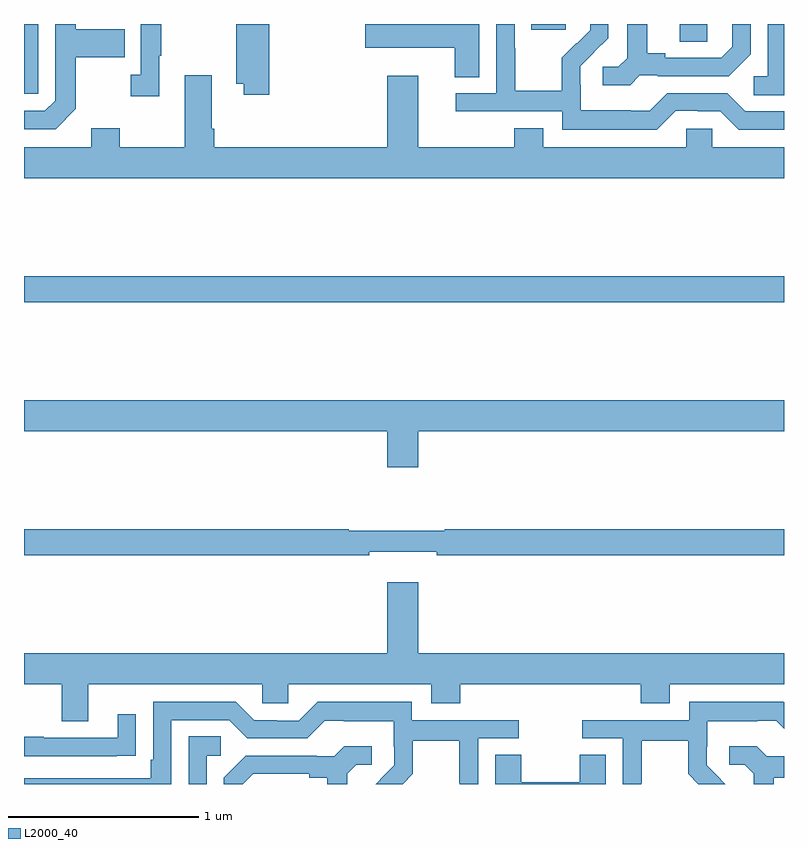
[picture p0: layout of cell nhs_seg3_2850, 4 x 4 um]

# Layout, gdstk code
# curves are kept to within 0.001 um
import gdstk
lib = gdstk.Library(unit=1e-6, precision=1e-09)
def R(c, l, rs):  # rectangles x0, y0, x1, y1
    for r in rs: c.add(gdstk.rectangle(r[:2], r[2:], *l))
def P(c, l, *ps):  # polygons
    for p in ps: c.add(gdstk.Polygon(p, *l))
L2000_40 = (2000, 40)

nhs_seg3_2850 = lib.new_cell('nhs_seg3_2850')
R(nhs_seg3_2850, L2000_40, [(259,694.936,263,695.072), (259,696.033,259.074,696.4), (262.451,696.307,262.596,696.4), (261.671,696.369,261.85,696.4)])
P(nhs_seg3_2850, L2000_40, [(262.431,695.943),(262.547,695.943),(262.547,695.94),(262.665,695.94),(262.761,695.844),(263,695.844),(263,695.94),(262.797,695.94),(262.701,696.036),(262.386,696.036),(262.293,695.943),(262.193,695.943),(262.193,695.947),(261.93,695.947),(261.93,696.081),(261.928,696.081),(261.928,696.178),(262.074,696.326),(262.074,696.4),(261.98,696.4),(261.98,696.368),(261.909,696.297),(261.906,696.3),(261.829,696.223),(261.829,696.049),(261.585,696.049),(261.585,696.272),(261.582,696.272),(261.582,696.4),(261.486,696.4),(261.486,696.036),(261.273,696.036),(261.273,695.94),(261.834,695.94),(261.834,695.843),(262.331,695.843)],
  [(262.242,696.129),(262.336,696.129),(262.336,696.126),(262.708,696.126),(262.824,696.242),(262.824,696.4),(262.727,696.4),(262.727,696.279),(262.67,696.222),(262.375,696.222),(262.375,696.245),(262.279,696.245),(262.279,696.4),(262.175,696.4),(262.175,696.221),(262.128,696.174),(262.047,696.174),(262.047,696.077),(262.19,696.077)],
  [(259.711,696.233),(259.723,696.233),(259.723,696.4),(259.614,696.4),(259.614,696.134),(259.563,696.134),(259.563,696.021),(259.711,696.021)],
  [(259.273,695.953),(259.273,696.226),(259.529,696.226),(259.529,696.373),(259.273,696.373),(259.273,696.4),(259.164,696.4),(259.164,695.997),(259.11,695.943),(259,695.943),(259,695.847),(259.167,695.847)],
  [(263,696.4),(262.914,696.4),(262.914,696.126),(262.842,696.126),(262.842,696.025),(263,696.025)],
  [(261.397,696.4),(260.796,696.4),(260.796,696.275),(261.266,696.275),(261.266,696.121),(261.397,696.121)],
  [(260.291,696.4),(260.116,696.4),(260.116,696.086),(260.156,696.086),(260.156,696.027),(260.291,696.027)],
  [(263,695.752),(262.623,695.752),(262.623,695.85),(262.485,695.85),(262.485,695.752),(261.733,695.752),(261.733,695.851),(261.581,695.851),(261.581,695.752),(261.076,695.752),(261.076,696.127),(260.912,696.127),(260.912,695.752),(260,695.752),(260,695.848),(259.987,695.848),(259.987,696.13),(259.847,696.13),(259.847,695.752),(259.503,695.752),(259.503,695.851),(259.355,695.851),(259.355,695.752),(259,695.752),(259,695.588),(263,695.588)],
  [(261.076,694.256),(263,694.256),(263,694.42),(259,694.42),(259,694.256),(260.912,694.256),(260.912,694.068),(261.076,694.068)],
  [(260.816,693.623),(261.172,693.623),(261.172,693.604),(263,693.604),(263,693.74),(261.214,693.74),(261.214,693.733),(260.708,693.733),(260.708,693.74),(259,693.74),(259,693.604),(260.816,693.604)],
  [(259.339,692.924),(260.253,692.924),(260.253,692.826),(260.391,692.826),(260.391,692.924),(261.143,692.924),(261.143,692.825),(261.296,692.825),(261.296,692.924),(262.247,692.924),(262.247,692.825),(262.399,692.825),(262.399,692.924),(263,692.924),(263,693.088),(261.076,693.088),(261.076,693.463),(260.912,693.463),(260.912,693.088),(259,693.088),(259,692.924),(259.199,692.924),(259.199,692.73),(259.339,692.73)],
  [(262.248,692.404),(262.251,692.404),(262.251,692.628),(262.495,692.628),(262.495,692.453),(262.548,692.4),(262.69,692.4),(262.667,692.423),(262.668,692.424),(262.594,692.498),(262.594,692.595),(262.596,692.595),(262.596,692.729),(262.859,692.729),(262.859,692.733),(262.959,692.733),(263,692.692),(263,692.83),(262.997,692.833),(262.5,692.833),(262.5,692.736),(261.939,692.736),(261.939,692.64),(262.152,692.64),(262.152,692.4),(262.248,692.4)],
  [(259.776,692.736),(260.079,692.736),(260.175,692.64),(260.49,692.64),(260.583,692.733),(260.683,692.733),(260.683,692.729),(260.946,692.729),(260.946,692.595),(260.948,692.595),(260.948,692.498),(260.874,692.424),(260.875,692.423),(260.852,692.4),(260.994,692.4),(261.047,692.453),(261.047,692.628),(261.291,692.628),(261.291,692.404),(261.294,692.404),(261.294,692.4),(261.39,692.4),(261.39,692.64),(261.604,692.64),(261.604,692.736),(261.042,692.736),(261.042,692.833),(260.545,692.833),(260.445,692.733),(260.33,692.733),(260.33,692.736),(260.211,692.736),(260.115,692.832),(259.68,692.832),(259.68,692.527),(259.667,692.527),(259.667,692.43),(259,692.43),(259,692.4),(259.776,692.4)],
  [(259.487,692.548),(259.589,692.548),(259.589,692.767),(259.493,692.767),(259.493,692.643),(259.103,692.643),(259.103,692.648),(259,692.648),(259,692.547),(259.487,692.547)],
  [(259.962,692.55),(260.035,692.55),(260.035,692.651),(259.866,692.651),(259.866,692.4),(259.962,692.4)],
  [(260.206,692.454),(260.501,692.454),(260.501,692.432),(260.597,692.432),(260.597,692.4),(260.701,692.4),(260.701,692.455),(260.748,692.502),(260.83,692.502),(260.83,692.599),(260.686,692.599),(260.634,692.547),(260.54,692.547),(260.54,692.55),(260.168,692.55),(260.052,692.434),(260.052,692.4),(260.152,692.4)],
  [(262.945,692.432),(263,692.432),(263,692.547),(262.908,692.547),(262.856,692.599),(262.713,692.599),(262.713,692.502),(262.794,692.502),(262.841,692.455),(262.841,692.4),(262.945,692.4)],
  [(262.063,692.555),(261.925,692.555),(261.925,692.408),(261.618,692.408),(261.618,692.555),(261.479,692.555),(261.479,692.4),(262.063,692.4)])

lib.write_gds('nhs_seg3_2850.gds')
